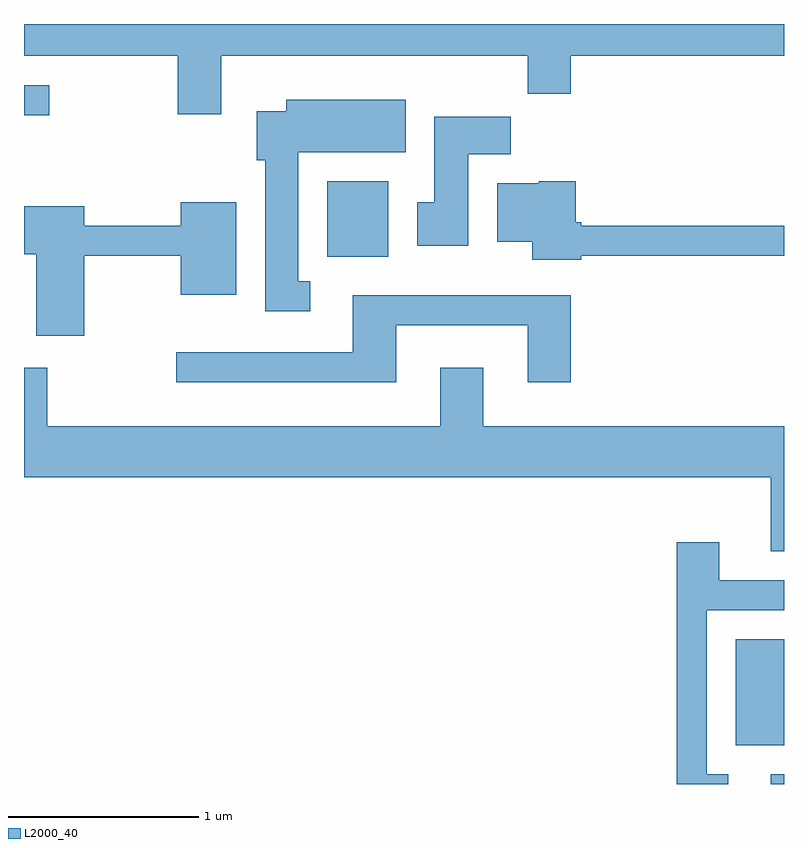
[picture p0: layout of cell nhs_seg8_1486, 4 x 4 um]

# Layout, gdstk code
import gdstk
lib = gdstk.Library(unit=1e-6, precision=1e-09)
def R(c, l, rs):  # rectangles x0, y0, x1, y1
    for r in rs: c.add(gdstk.rectangle(r[:2], r[2:], *l))
def P(c, l, *ps):  # polygons
    for p in ps: c.add(gdstk.Polygon(p, *l))
L2000_40 = (2000, 40)

nhs_seg8_1486 = lib.new_cell('nhs_seg8_1486')
R(nhs_seg8_1486, L2000_40, [(233.541,1850.342,233.611,1850.394), (233.356,1850.546,233.611,1851.104), (231.206,1853.116,231.529,1853.514), (229.611,1853.861,229.743,1854.019)])
P(nhs_seg8_1486, L2000_40, [(230.649,1854.176),(232.261,1854.176),(232.261,1853.976),(232.489,1853.976),(232.489,1854.176),(233.611,1854.176),(233.611,1854.342),(229.611,1854.342),(229.611,1854.176),(230.421,1854.176),(230.421,1853.866),(230.649,1853.866)],
  [(231.118,1852.989),(231.054,1852.989),(231.054,1853.666),(231.619,1853.666),(231.619,1853.944),(230.991,1853.944),(230.991,1853.884),(230.836,1853.884),(230.836,1853.626),(230.881,1853.626),(230.881,1852.831),(231.118,1852.831)],
  [(231.949,1853.656),(232.174,1853.656),(232.174,1853.854),(231.771,1853.854),(231.771,1853.404),(231.681,1853.404),(231.681,1853.176),(231.949,1853.176)],
  [(232.544,1853.121),(233.611,1853.121),(233.611,1853.279),(232.544,1853.279),(232.544,1853.299),(232.514,1853.299),(232.514,1853.514),(232.32,1853.514),(232.32,1853.504),(232.101,1853.504),(232.101,1853.196),(232.286,1853.196),(232.286,1853.101),(232.544,1853.101)],
  [(229.929,1853.121),(230.436,1853.121),(230.436,1852.916),(230.729,1852.916),(230.729,1853.404),(230.436,1853.404),(230.436,1853.279),(229.929,1853.279),(229.929,1853.384),(229.611,1853.384),(229.611,1853.131),(229.676,1853.131),(229.676,1852.701),(229.929,1852.701)],
  [(231.569,1852.756),(232.261,1852.756),(232.261,1852.456),(232.489,1852.456),(232.489,1852.914),(231.341,1852.914),(231.341,1852.614),(230.413,1852.614),(230.413,1852.456),(231.569,1852.456)],
  [(233.611,1852.224),(232.029,1852.224),(232.029,1852.534),(231.801,1852.534),(231.801,1852.224),(229.734,1852.224),(229.734,1852.534),(229.611,1852.534),(229.611,1851.956),(233.541,1851.956),(233.541,1851.566),(233.611,1851.566)],
  [(233.318,1850.394),(233.204,1850.394),(233.204,1851.256),(233.611,1851.256),(233.611,1851.414),(233.269,1851.414),(233.269,1851.614),(233.046,1851.614),(233.046,1850.342),(233.318,1850.342)])

lib.write_gds('nhs_seg8_1486.gds')
